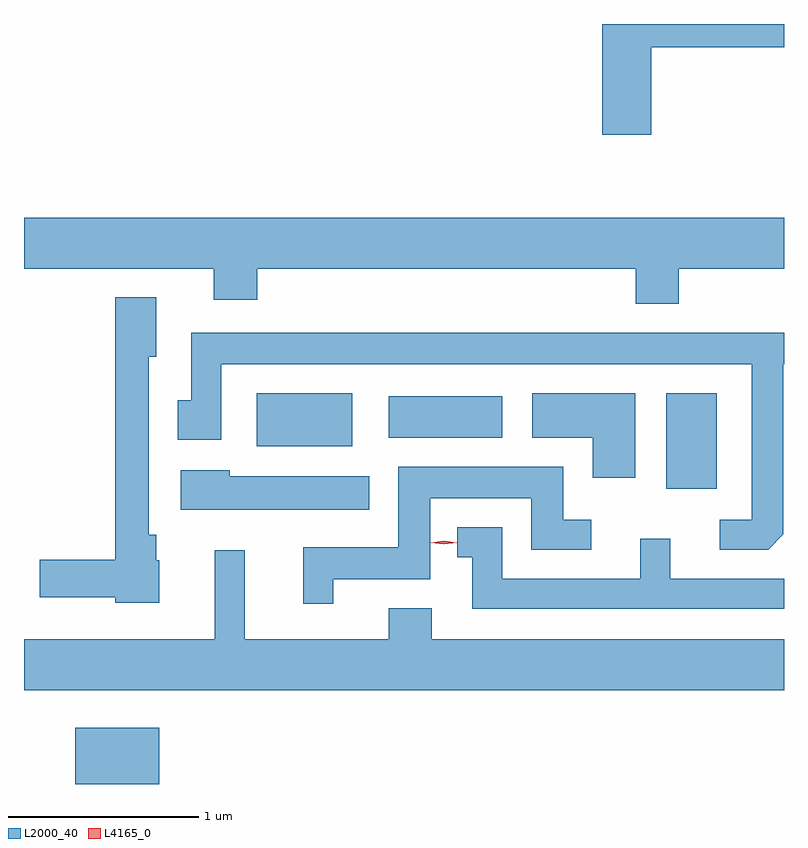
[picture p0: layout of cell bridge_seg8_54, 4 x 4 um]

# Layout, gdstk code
import gdstk
lib = gdstk.Library(unit=1e-6, precision=1e-09)
def R(c, l, rs):  # rectangles x0, y0, x1, y1
    for r in rs: c.add(gdstk.rectangle(r[:2], r[2:], *l))
def P(c, l, *ps):  # polygons
    for p in ps: c.add(gdstk.Polygon(p, *l))
L2000_40 = (2000, 40)
L4165_0 = (4165, 0)

bridge_seg8_54 = lib.new_cell('bridge_seg8_54')
R(bridge_seg8_54, L2000_40, [(1485.661,1904.743,1486.104,1905.039), (1488.771,1906.296,1489.039,1906.799), (1486.616,1906.521,1487.119,1906.799), (1487.311,1906.566,1487.909,1906.784)])
P(bridge_seg8_54, L2000_40, [(1488.694,1908.621),(1489.392,1908.621),(1489.392,1908.743),(1488.436,1908.743),(1488.436,1908.161),(1488.694,1908.161)],
  [(1488.839,1907.456),(1489.392,1907.456),(1489.392,1907.724),(1485.392,1907.724),(1485.392,1907.456),(1486.391,1907.456),(1486.391,1907.291),(1486.619,1907.291),(1486.619,1907.456),(1488.611,1907.456),(1488.611,1907.271),(1488.839,1907.271)],
  [(1486.104,1905.92),(1486.089,1905.92),(1486.089,1906.054),(1486.049,1906.054),(1486.049,1906.991),(1486.089,1906.991),(1486.089,1907.304),(1485.871,1907.304),(1485.871,1905.924),(1485.476,1905.924),(1485.476,1905.726),(1485.871,1905.726),(1485.871,1905.696),(1486.104,1905.696)],
  [(1489.389,1906.057),(1489.389,1906.951),(1489.392,1906.951),(1489.392,1907.119),(1486.271,1907.119),(1486.271,1906.764),(1486.201,1906.764),(1486.201,1906.556),(1486.429,1906.556),(1486.429,1906.951),(1489.221,1906.951),(1489.221,1906.134),(1489.053,1906.134),(1489.053,1905.976),(1489.309,1905.976)],
  [(1488.609,1906.799),(1488.066,1906.799),(1488.066,1906.566),(1488.386,1906.566),(1488.386,1906.356),(1488.609,1906.356)],
  [(1487.019,1905.821),(1487.529,1905.821),(1487.529,1906.246),(1488.061,1906.246),(1488.061,1905.976),(1488.378,1905.976),(1488.378,1906.134),(1488.229,1906.134),(1488.229,1906.414),(1487.361,1906.414),(1487.361,1905.989),(1486.861,1905.989),(1486.861,1905.693),(1487.019,1905.693)],
  [(1487.209,1906.364),(1486.474,1906.364),(1486.474,1906.394),(1486.216,1906.394),(1486.216,1906.186),(1487.209,1906.186)],
  [(1489.392,1905.824),(1488.794,1905.824),(1488.794,1906.033),(1488.636,1906.033),(1488.636,1905.824),(1487.909,1905.824),(1487.909,1906.094),(1487.673,1906.094),(1487.673,1905.936),(1487.751,1905.936),(1487.751,1905.666),(1489.392,1905.666)],
  [(1489.392,1905.504),(1487.539,1905.504),(1487.539,1905.669),(1487.311,1905.669),(1487.311,1905.504),(1486.554,1905.504),(1486.554,1905.973),(1486.396,1905.973),(1486.396,1905.504),(1485.392,1905.504),(1485.392,1905.236),(1489.392,1905.236)])
P(bridge_seg8_54, L4165_0, [(1487.601,1906.004),(1487.532,1906.013),(1487.532,1906.014),(1487.532,1906.014),(1487.601,1906.024),(1487.671,1906.014),(1487.671,1906.014),(1487.671,1906.013)])

lib.write_gds('bridge_seg8_54.gds')
